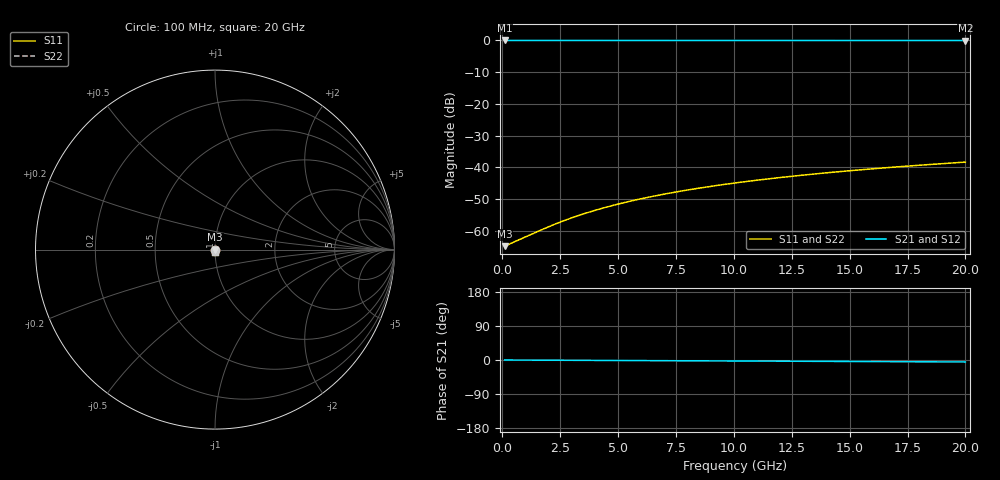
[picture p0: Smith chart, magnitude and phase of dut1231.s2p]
! Touchstone file exported from HFSS 2026.1.0
!  File:  C:/ffzhzh/LocalFiles/Ansys_Project_Files/temp_train_TSV_1231_1783193256_18472.aedt
!  Generated:  03:29:07 AM Jul  5, 2026
!  Design:  TSV
!  Project:  temp_train_TSV_1231_1783193256_18472
! Variables:
!  h_bsmrdl = 2um
!  h_ox = 20um
!  h_rdl = 5um
!  h_sub = 55.14um
!  h_tmrdl = 5um
!  h_tsv = 55.14um
!  h_via = 3um
!  l_bsmrdl = 300um
!  l_sub = 406.88um
!  l_tmrdl = 200um
!  m_sub = 200um
!  pitch = 12.22um
!  r_tsv = 3.44um
!  s_tmrdl = 10um
!  w_bsmrdl = 18um
!  w_sub = 500um
!  w_tmrdl = 12um
!  x_tsv_center1 = 206um
!  x_tsv_center2 = 524um
!  x_tsv_center3 = 736um
!  x_tsv_center4 = 1054um
!  x_tsv_center5 = 1266um
!  x_tsv_center6 = 1584um
# GHz S MA R 50.000000
! Terminal data exported
! Port[1] = TSV1_1_T1
! Port[2] = TSV1_1_T2
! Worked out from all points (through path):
!   200 points, 100 MHz to 20 GHz, reference 50 ohm
!   highest |S21| = 0.00 dB at 100 MHz (marker M1); lowest = 0.0 dB at 20 GHz (marker M2)
!   lowest |S11| = -64.9 dB at 100 MHz (marker M3), VSWR 1.00, Z = 50.1 - j0.00145 ohm
!   |S11| at or under -10 dB: start of sweep to end of sweep
!   |S22| runs from -64.9 to -38.4 dB; largest |S21 - S12| = 3e-15
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0.1  0.0005718 -1.5  0.9994 -0.0  0.9994 -0.0  0.0005718 -1.5
! Gamma 0 0 0 0
! Port Impedance 50 0 50 0
0.2  0.0005911 -3.7  0.9994 -0.1  0.9994 -0.1  0.0005911 -3.7
0.5  0.0006645 -13.9  0.9994 -0.1  0.9994 -0.1  0.0006645 -13.9
1.7  0.001037 -44.8  0.9993 -0.5  0.9993 -0.5  0.001037 -44.8
2.2  0.00124 -51.5  0.9992 -0.6  0.9992 -0.6  0.00124 -51.5
2.8  0.001506 -56.9  0.9992 -0.7  0.9992 -0.7  0.001506 -56.9
3.1  0.001647 -58.9  0.9991 -0.8  0.9991 -0.8  0.001647 -58.9
3.5  0.001843 -61.2  0.9991 -0.9  0.9991 -0.9  0.001843 -61.2
4.2  0.002201 -64.1  0.999 -1.1  0.999 -1.1  0.002201 -64.1
5  0.002632 -66.6  0.9989 -1.3  0.9989 -1.3  0.002632 -66.6
5.9  0.00314 -68.8  0.9988 -1.6  0.9988 -1.6  0.00314 -68.8
6.8  0.003666 -70.6  0.9987 -1.8  0.9987 -1.8  0.003666 -70.6
7.6  0.004147 -71.9  0.9986 -2.0  0.9986 -2.0  0.004147 -71.9
8.4  0.004637 -73.1  0.9985 -2.2  0.9985 -2.2  0.004637 -73.1
9.2  0.005133 -74.2  0.9984 -2.4  0.9984 -2.4  0.005133 -74.2
10.1  0.005699 -75.3  0.9983 -2.6  0.9983 -2.6  0.005699 -75.3
11.7  0.006715 -77.1  0.9981 -3.1  0.9981 -3.1  0.006715 -77.1
13.4  0.007805 -78.7  0.998 -3.5  0.998 -3.5  0.007805 -78.7
15  0.008837 -80.1  0.9979 -3.9  0.9979 -3.9  0.008837 -80.1
16.7  0.009938 -81.4  0.9977 -4.3  0.9977 -4.3  0.009938 -81.4
18.3  0.01098 -82.4  0.9976 -4.7  0.9976 -4.7  0.01098 -82.4
20  0.01209 -83.5  0.9975 -5.2  0.9975 -5.2  0.01209 -83.5
